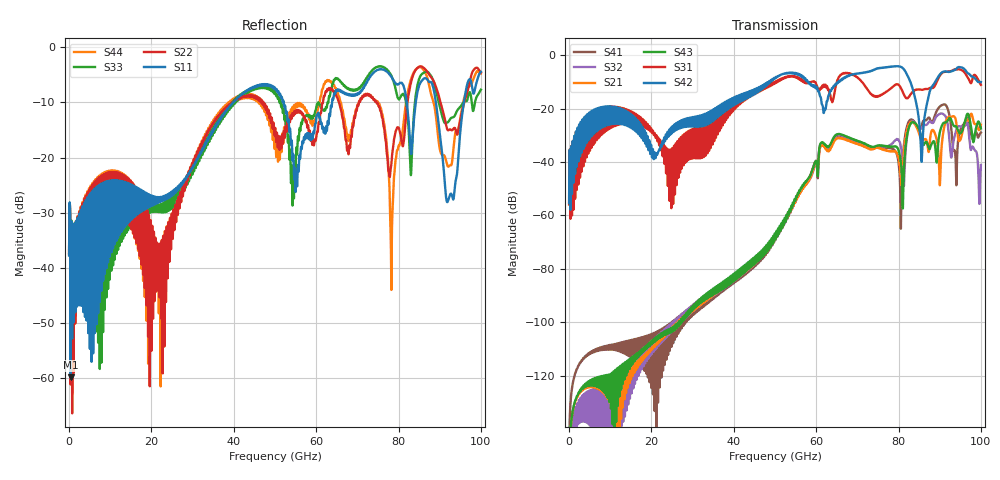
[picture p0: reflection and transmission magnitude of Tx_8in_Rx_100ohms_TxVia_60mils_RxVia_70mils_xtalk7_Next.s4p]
! Info: Touchstone file created by Circ.  Input file=Tx_8in_Rx_100ohms_TxVia_60mils_RxVia_70mils.circ
# Hz S RI R 50
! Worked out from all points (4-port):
!   10000 points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, 10 MHz to 100 GHz, reference 50 ohm
!   strongest paths, dB at 10 MHz, 25.01 GHz, 50.01 GHz, 75.01 GHz, 100 GHz:
!     S42: -55.3, -28.4, -8.7, -4.8, -10.0
!     S31: -55.9, -35.4, -10.6, -15.3, -11.1
!     S43: -154.6, -103.3, -67.0, -33.8, -27.4
!     S21: -167.1, -102.3, -67.9, -34.6, -26.0
!     S32: -170.2, -102.9, -67.5, -34.0, -41.1
!     S41: -150.3, -100.5, -68.1, -34.3, -29.0
!   lowest |S11| = -60.0 dB at 380 MHz (marker M1), VSWR 1.00, Z = 49.9 + j0.0813 ohm
!   |S11| at or under -10 dB: start of sweep to 39.84 GHz; 52.13 GHz to 63.86 GHz (11.73 GHz wide, 20.2 % of centre); 89.08 GHz to 95.87 GHz (6.787 GHz wide, 7.34 % of centre)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
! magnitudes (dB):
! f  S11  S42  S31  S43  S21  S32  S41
! 10 MHz  -37.8  -55.3  -55.9  -154.6  -167.1  -170.2  -150.3
! 380 MHz  -60.0  -44.1  -44.2  -139.6  -140.0  -142.8  -129.5
! 43.28 GHz  -7.9  -13.9  -14.3  -80.5  -80.6  -80.7  -81.5
! 65.17 GHz  -7.6  -10.2  -9.3  -29.6  -31.0  -29.9  -30.6
! 78.28 GHz  -5.3  -4.2  -12.2  -34.3  -36.0  -33.4  -34.9
! 85.59 GHz  -6.1  -39.9  -12.9  -31.2  -31.8  -27.3  -26.2
! 100 GHz  -4.4  -10.0  -11.1  -27.4  -26.0  -41.1  -29.0
